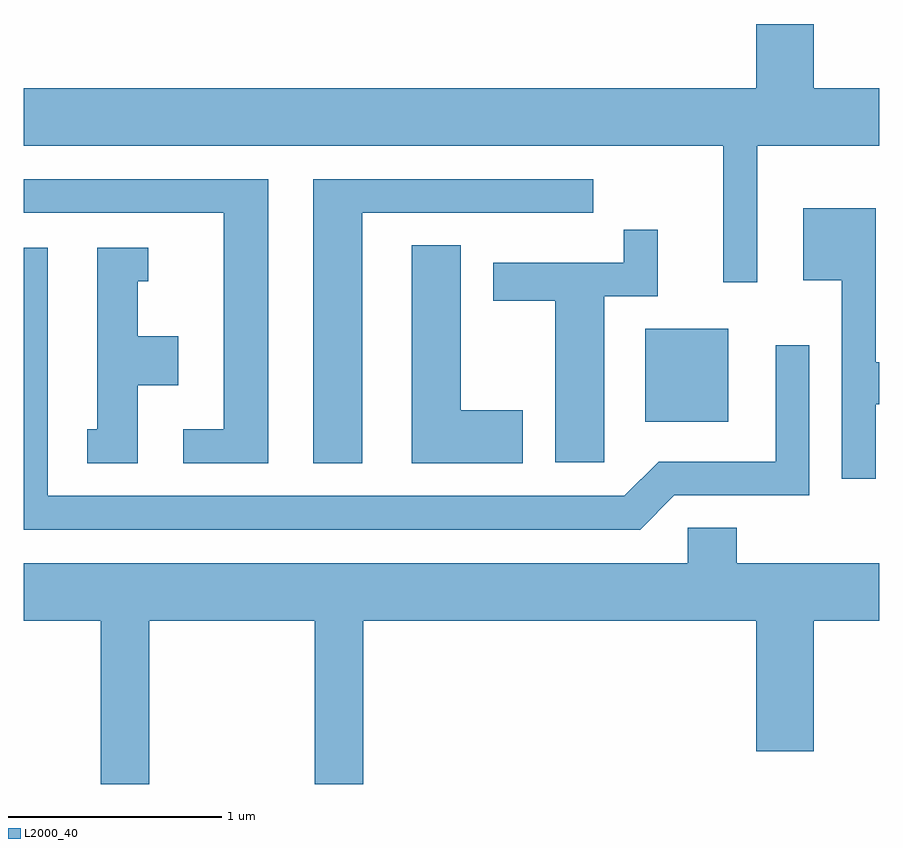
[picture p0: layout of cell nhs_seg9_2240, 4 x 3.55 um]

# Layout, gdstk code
import gdstk
lib = gdstk.Library(unit=1e-6, precision=1e-09)
def R(c, l, rs):  # rectangles x0, y0, x1, y1
    for r in rs: c.add(gdstk.rectangle(r[:2], r[2:], *l))
def P(c, l, *ps):  # polygons
    for p in ps: c.add(gdstk.Polygon(p, *l))
L2000_40 = (2000, 40)

nhs_seg9_2240 = lib.new_cell('nhs_seg9_2240')
R(nhs_seg9_2240, L2000_40, [(254.516,1946.126,254.904,1946.559)])
P(nhs_seg9_2240, L2000_40, [(255.039,1947.416),(255.611,1947.416),(255.611,1947.684),(255.304,1947.684),(255.304,1947.984),(255.036,1947.984),(255.036,1947.684),(251.611,1947.684),(251.611,1947.416),(254.881,1947.416),(254.881,1946.778),(255.039,1946.778)],
  [(253.194,1947.101),(254.273,1947.101),(254.273,1947.259),(252.966,1947.259),(252.966,1945.931),(253.194,1945.931)],
  [(252.754,1947.259),(251.611,1947.259),(251.611,1947.101),(252.546,1947.101),(252.546,1946.089),(252.358,1946.089),(252.358,1945.931),(252.754,1945.931)],
  [(255.594,1946.206),(255.611,1946.206),(255.611,1946.404),(255.594,1946.404),(255.594,1947.124),(255.256,1947.124),(255.256,1946.786),(255.436,1946.786),(255.436,1945.858),(255.594,1945.858)],
  [(254.324,1946.711),(254.574,1946.711),(254.574,1947.023),(254.416,1947.023),(254.416,1946.869),(253.806,1946.869),(253.806,1946.691),(254.096,1946.691),(254.096,1945.936),(254.324,1945.936)],
  [(253.944,1946.179),(253.654,1946.179),(253.654,1946.949),(253.426,1946.949),(253.426,1945.931),(253.944,1945.931)],
  [(252.144,1946.296),(252.334,1946.296),(252.334,1946.524),(252.144,1946.524),(252.144,1946.781),(252.193,1946.781),(252.193,1946.939),(251.956,1946.939),(251.956,1946.089),(251.908,1946.089),(251.908,1945.931),(252.144,1945.931)],
  [(254.652,1945.781),(255.284,1945.781),(255.284,1946.483),(255.126,1946.483),(255.126,1945.939),(254.579,1945.939),(254.419,1945.779),(251.724,1945.779),(251.724,1946.939),(251.611,1946.939),(251.611,1945.621),(254.492,1945.621)],
  [(252.199,1945.196),(252.971,1945.196),(252.971,1944.432),(253.199,1944.432),(253.199,1945.196),(255.036,1945.196),(255.036,1944.586),(255.304,1944.586),(255.304,1945.196),(255.611,1945.196),(255.611,1945.464),(254.944,1945.464),(254.944,1945.629),(254.716,1945.629),(254.716,1945.464),(251.611,1945.464),(251.611,1945.196),(251.971,1945.196),(251.971,1944.432),(252.199,1944.432)])

lib.write_gds('nhs_seg9_2240.gds')
